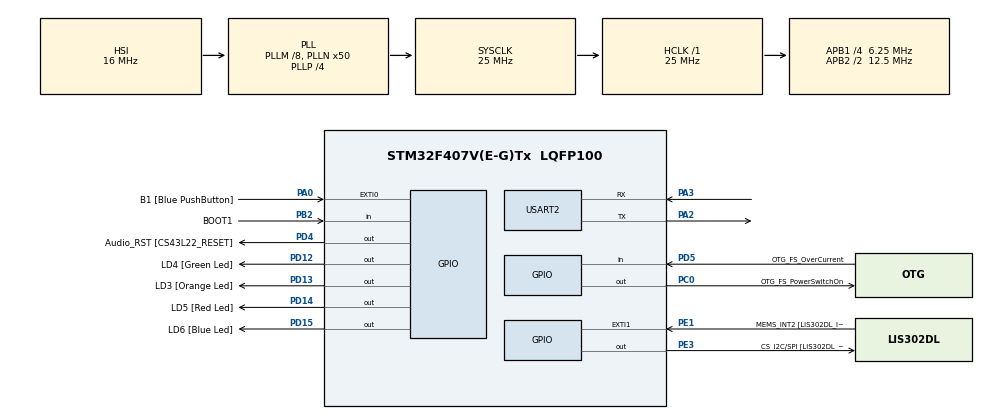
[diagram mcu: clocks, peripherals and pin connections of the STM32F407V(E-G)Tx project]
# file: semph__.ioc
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Mcu.Family=STM32F4
Mcu.Name=STM32F407V(E-G)Tx
Mcu.Package=LQFP100
NVIC.PriorityGroup=NVIC_PRIORITYGROUP_4
NVIC.TIM6_DAC_IRQn=true\:0\:0\:false\:false\:true\:false\:true\:true
NVIC.TimeBase=TIM6_DAC_IRQn
NVIC.TimeBaseIP=TIM6
PA0-WKUP.GPIO_Label=B1 [Blue PushButton]
PA0-WKUP.Signal=GPXTI0
PA10.GPIO_Label=OTG_FS_ID
PA10.GPIO_Mode=GPIO_MODE_AF_PP
PA10.GPIO_PuPd=GPIO_NOPULL
PA10.GPIO_Speed=GPIO_SPEED_FREQ_LOW
PA10.Signal=USB_OTG_FS_ID
PA11.GPIO_Label=OTG_FS_DM
PA11.GPIO_Mode=GPIO_MODE_AF_PP
PA11.GPIO_PuPd=GPIO_NOPULL
PA11.GPIO_Speed=GPIO_SPEED_FREQ_LOW
PA11.Signal=USB_OTG_FS_DM
PA12.GPIO_Label=OTG_FS_DP
PA12.GPIO_Mode=GPIO_MODE_AF_PP
PA12.GPIO_PuPd=GPIO_NOPULL
PA12.GPIO_Speed=GPIO_SPEED_FREQ_LOW
PA12.Signal=USB_OTG_FS_DP
PA13.GPIO_Label=SWDIO
PA13.Signal=SYS_JTMS-SWDIO
PA14.GPIO_Label=SWCLK
PA14.Signal=SYS_JTCK-SWCLK
PA2.Mode=Asynchronous
PA2.Signal=USART2_TX
PA3.Mode=Asynchronous
PA3.Signal=USART2_RX
PA4.GPIO_Label=I2S3_WS [CS43L22_LRCK]
PA4.GPIO_Mode=GPIO_MODE_AF_PP
PA4.GPIO_PuPd=GPIO_NOPULL
PA4.GPIO_Speed=GPIO_SPEED_FREQ_LOW
PA4.Signal=I2S3_WS
PA5.GPIO_Label=SPI1_SCK [LIS302DL_SCL/SPC]
PA5.GPIO_Mode=GPIO_MODE_AF_PP
PA5.GPIO_PuPd=GPIO_NOPULL
PA5.GPIO_Speed=GPIO_SPEED_FREQ_LOW
PA5.Signal=SPI1_SCK
PA6.GPIO_Label=SPI1_MISO [LIS302DL_SDO]
PA6.GPIO_Mode=GPIO_MODE_AF_PP
PA6.GPIO_PuPd=GPIO_NOPULL
PA6.GPIO_Speed=GPIO_SPEED_FREQ_LOW
PA6.Signal=SPI1_MISO
PA7.GPIO_Label=SPI1_MOSI [LIS302DL_SDA/SDI/SDO]
PA7.GPIO_Mode=GPIO_MODE_AF_PP
PA7.GPIO_PuPd=GPIO_NOPULL
PA7.GPIO_Speed=GPIO_SPEED_FREQ_LOW
PA7.Signal=SPI1_MOSI
PA9.GPIO_Label=VBUS_FS
PA9.GPIO_Mode=GPIO_MODE_INPUT
PA9.GPIO_PuPd=GPIO_NOPULL
PA9.Signal=USB_OTG_FS_VBUS
PB10.GPIO_Label=CLK_IN [MP45DT02_CLK]
PB10.GPIO_Mode=GPIO_MODE_AF_PP
PB10.GPIO_PuPd=GPIO_NOPULL
PB10.GPIO_Speed=GPIO_SPEED_FREQ_LOW
PB10.Signal=I2S2_CK
PB2.GPIO_Label=BOOT1
PB2.GPIO_Mode=GPIO_MODE_INPUT
PB2.GPIO_PuPd=GPIO_NOPULL
PB2.Signal=GPIO_Input
PB3.GPIO_Label=SWO
PB3.Signal=SYS_JTDO-SWO
PB6.GPIO_Label=Audio_SCL [CS43L22_SCL]
PB6.GPIO_Mode=GPIO_MODE_AF_OD
PB6.GPIO_PuPd=GPIO_NOPULL
PB6.GPIO_Speed=GPIO_SPEED_FREQ_LOW
PB6.Signal=I2C1_SCL
PB9.GPIO_Label=Audio_SDA [CS43L22_SDA]
PB9.GPIO_Mode=GPIO_MODE_AF_OD
PB9.GPIO_PuPd=GPIO_NOPULL
PB9.GPIO_Speed=GPIO_SPEED_FREQ_LOW
PB9.Signal=I2C1_SDA
PC0.GPIO_Label=OTG_FS_PowerSwitchOn
PC0.GPIO_PuPd=GPIO_NOPULL
PC0.GPIO_Speed=GPIO_SPEED_FREQ_LOW
PC0.PinState=GPIO_PIN_SET
PC0.Signal=GPIO_Output
PC10.GPIO_Label=I2S3_SCK [CS43L22_SCLK]
PC10.GPIO_Mode=GPIO_MODE_AF_PP
PC10.GPIO_PuPd=GPIO_NOPULL
PC10.GPIO_Speed=GPIO_SPEED_FREQ_LOW
PC10.Signal=I2S3_CK
PC12.GPIO_Label=I2S3_SD [CS43L22_SDIN]
PC12.GPIO_Mode=GPIO_MODE_AF_PP
PC12.GPIO_PuPd=GPIO_NOPULL
PC12.GPIO_Speed=GPIO_SPEED_FREQ_LOW
PC12.Signal=I2S3_SD
PC14-OSC32_IN.GPIO_Label=PC14-OSC32_IN
PC14-OSC32_IN.Signal=RCC_OSC32_IN
PC15-OSC32_OUT.GPIO_Label=PC15-OSC32_OUT
PC15-OSC32_OUT.Signal=RCC_OSC32_OUT
PC3.GPIO_Label=PDM_OUT [MP45DT02_DOUT]
PC3.GPIO_Mode=GPIO_MODE_AF_PP
PC3.GPIO_PuPd=GPIO_NOPULL
PC3.GPIO_Speed=GPIO_SPEED_FREQ_LOW
PC3.Signal=I2S2_SD
PC7.GPIO_Label=I2S3_MCK [CS43L22_MCLK]
PC7.GPIO_Mode=GPIO_MODE_AF_PP
PC7.GPIO_PuPd=GPIO_NOPULL
PC7.GPIO_Speed=GPIO_SPEED_FREQ_LOW
PC7.Signal=I2S3_MCK
PD12.GPIO_Label=LD4 [Green Led]
PD12.GPIO_PuPd=GPIO_NOPULL
PD12.GPIO_Speed=GPIO_SPEED_FREQ_LOW
PD12.Signal=GPIO_Output
PD13.GPIO_Label=LD3 [Orange Led]
PD13.GPIO_PuPd=GPIO_NOPULL
PD13.GPIO_Speed=GPIO_SPEED_FREQ_LOW
PD13.Signal=GPIO_Output
PD14.GPIO_Label=LD5 [Red Led]
PD14.GPIO_PuPd=GPIO_NOPULL
PD14.GPIO_Speed=GPIO_SPEED_FREQ_LOW
PD14.Signal=GPIO_Output
PD15.GPIO_Label=LD6 [Blue Led]
PD15.GPIO_PuPd=GPIO_NOPULL
PD15.GPIO_Speed=GPIO_SPEED_FREQ_LOW
PD15.Signal=GPIO_Output
PD4.GPIO_Label=Audio_RST [CS43L22_RESET]
PD4.GPIO_PuPd=GPIO_NOPULL
PD4.GPIO_Speed=GPIO_SPEED_FREQ_LOW
PD4.Signal=GPIO_Output
PD5.GPIO_Label=OTG_FS_OverCurrent
PD5.GPIO_Mode=GPIO_MODE_INPUT
PD5.GPIO_PuPd=GPIO_NOPULL
PD5.Signal=GPIO_Input
PE1.GPIO_Label=MEMS_INT2 [LIS302DL_INT2]
PE1.GPIO_ModeDefaultEXTI=GPIO_MODE_EVT_RISING
PE1.GPIO_PuPd=GPIO_NOPULL
PE1.Signal=GPXTI1
PE3.GPIO_Label=CS_I2C/SPI [LIS302DL_CS_I2C/SPI]
PE3.GPIO_PuPd=GPIO_NOPULL
PE3.GPIO_Speed=GPIO_SPEED_FREQ_LOW
PE3.Signal=GPIO_Output
PH0-OSC_IN.GPIO_Label=PH0-OSC_IN
PH0-OSC_IN.Signal=RCC_OSC_IN
PH1-OSC_OUT.GPIO_Label=PH1-OSC_OUT
PH1-OSC_OUT.Signal=RCC_OSC_OUT
ProjectManager.HeapSize=0x200
ProjectManager.StackSize=0x400
ProjectManager.TargetToolchain=STM32CubeIDE
RCC.48MHZClocksFreq_Value=14285714.285714285
RCC.AHBFreq_Value=25000000
RCC.APB1CLKDivider=RCC_HCLK_DIV4
RCC.APB1Freq_Value=6250000
RCC.APB1TimFreq_Value=12500000
RCC.APB2CLKDivider=RCC_HCLK_DIV2
RCC.APB2Freq_Value=12500000
RCC.APB2TimFreq_Value=25000000
RCC.CortexFreq_Value=25000000
RCC.HCLKFreq_Value=25000000
RCC.HSE_VALUE=8000000
RCC.HSI_VALUE=16000000
RCC.LSE_VALUE=32768
RCC.PLLM=8
RCC.PLLN=50
RCC.PLLP=RCC_PLLP_DIV4
RCC.PLLQ=7
RCC.SYSCLKFreq_VALUE=25000000
RCC.SYSCLKSource=RCC_SYSCLKSOURCE_PLLCLK
RCC.VCOOutputFreq_Value=100000000
USART2.VirtualMode=VM_ASYNC
VP_SYS_VS_tim6.Mode=TIM6
board=STM32F407G-DISC1

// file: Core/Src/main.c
/* USER CODE BEGIN Header */
/**
  ******************************************************************************
  * @file           : main.c
  * @brief          : Main program body
  ******************************************************************************
  * @attention
  *
  * Copyright (c) 2025 STMicroelectronics.
  * All rights reserved.
  *
  * This software is licensed under terms that can be found in the LICENSE file
  * in the root directory of this software component.
  * If no LICENSE file comes with this software, it is provided AS-IS.
  *
  ******************************************************************************
  */
/* USER CODE END Header */
#include "main.h"

/* USER CODE BEGIN Includes */
#include"FreeRTOS.h"
#include<stdio.h>

#include"Queue.h"
#include<stdint.h>
#include"Task.h"
#include"timers.h"
#include"semphr.h"
#include<string.h>
#include<stdlib.h>

/* USER CODE END Includes */

UART_HandleTypeDef huart2;

void SystemClock_Config(void);
static void MX_GPIO_Init(void);
static void MX_USART2_UART_Init(void);

/* USER CODE BEGIN 0 */
TaskHandle_t Manager_Handle;
TaskHandle_t Worker_Handle;
QueueHandle_t q_handle;
SemaphoreHandle_t xwork;
void Manager_Task_Handler(void* param);
void Worker_Task_Handler(void* param);
void Worker_Do_Task(unsigned int *id);
void print_uart(char* );
void write(char* ch);
#define DWT_CTRL    (*(volatile uint32_t*)0xE0001000)
UART_HandleTypeDef huart2;
uint32_t user_data;

/* USER CODE END 0 */

int main(void)
{

  /* USER CODE BEGIN 1 */
	 DWT_CTRL |= ( 1 << 0);

	  SEGGER_SYSVIEW_Conf();

	  SEGGER_SYSVIEW_Start();
	  vSemaphoreCreateBinary(xwork);

	BaseType_t status;
	q_handle=xQueueCreate(1,sizeof(unsigned int));
	if(!(q_handle==NULL)){
		status=xTaskCreate(Manager_Task_Handler, "managertask", 200, NULL, 2, &Manager_Handle);
		configASSERT(status==pdPASS);
		status=xTaskCreate(Worker_Task_Handler, "worker", 200, NULL, 2, &Worker_Handle);
			configASSERT(status==pdPASS);

	}
	HAL_UART_Transmit_IT(&huart2, (void*)&user_data,1);

	vTaskStartScheduler();
  /* USER CODE END 1 */

  /* MCU Configuration--------------------------------------------------------*/

  /* Reset of all peripherals, Initializes the Flash interface and the Systick. */
  HAL_Init();

  /* Configure the system clock */
  SystemClock_Config();

  /* Initialize all configured peripherals */
  MX_GPIO_Init();
  MX_USART2_UART_Init();

  /* Infinite loop */
  while (1)
  {

  }
}

void SystemClock_Config(void)
{
  RCC_OscInitTypeDef RCC_OscInitStruct = {0};
  RCC_ClkInitTypeDef RCC_ClkInitStruct = {0};

  /** Configure the main internal regulator output voltage
  */
  __HAL_RCC_PWR_CLK_ENABLE();
  __HAL_PWR_VOLTAGESCALING_CONFIG(PWR_REGULATOR_VOLTAGE_SCALE1);

  /** Initializes the RCC Oscillators according to the specified parameters
  * in the RCC_OscInitTypeDef structure.
  */
  RCC_OscInitStruct.OscillatorType = RCC_OSCILLATORTYPE_HSI;
  RCC_OscInitStruct.HSIState = RCC_HSI_ON;
  RCC_OscInitStruct.HSICalibrationValue = RCC_HSICALIBRATION_DEFAULT;
  RCC_OscInitStruct.PLL.PLLState = RCC_PLL_ON;
  RCC_OscInitStruct.PLL.PLLSource = RCC_PLLSOURCE_HSI;
  RCC_OscInitStruct.PLL.PLLM = 8;
  RCC_OscInitStruct.PLL.PLLN = 50;
  RCC_OscInitStruct.PLL.PLLP = RCC_PLLP_DIV4;
  RCC_OscInitStruct.PLL.PLLQ = 7;
  if (HAL_RCC_OscConfig(&RCC_OscInitStruct) != HAL_OK)
  {
    Error_Handler();
  }

  /** Initializes the CPU, AHB and APB buses clocks
  */
  RCC_ClkInitStruct.ClockType = RCC_CLOCKTYPE_HCLK|RCC_CLOCKTYPE_SYSCLK
                              |RCC_CLOCKTYPE_PCLK1|RCC_CLOCKTYPE_PCLK2;
  RCC_ClkInitStruct.SYSCLKSource = RCC_SYSCLKSOURCE_PLLCLK;
  RCC_ClkInitStruct.AHBCLKDivider = RCC_SYSCLK_DIV1;
  RCC_ClkInitStruct.APB1CLKDivider = RCC_HCLK_DIV4;
  RCC_ClkInitStruct.APB2CLKDivider = RCC_HCLK_DIV2;

  if (HAL_RCC_ClockConfig(&RCC_ClkInitStruct, FLASH_LATENCY_0) != HAL_OK)
  {
    Error_Handler();
  }
}

static void MX_USART2_UART_Init(void)
{

  huart2.Instance = USART2;
  huart2.Init.BaudRate = 115200;
  huart2.Init.WordLength = UART_WORDLENGTH_8B;
  huart2.Init.StopBits = UART_STOPBITS_1;
  huart2.Init.Parity = UART_PARITY_NONE;
  huart2.Init.Mode = UART_MODE_TX_RX;
  huart2.Init.HwFlowCtl = UART_HWCONTROL_NONE;
  huart2.Init.OverSampling = UART_OVERSAMPLING_16;
  if (HAL_UART_Init(&huart2) != HAL_OK)
  {
    Error_Handler();
  }

}

static void MX_GPIO_Init(void)
{
  GPIO_InitTypeDef GPIO_InitStruct = {0};

  /* GPIO Ports Clock Enable */
  __HAL_RCC_GPIOE_CLK_ENABLE();
  __HAL_RCC_GPIOC_CLK_ENABLE();
  __HAL_RCC_GPIOH_CLK_ENABLE();
  __HAL_RCC_GPIOA_CLK_ENABLE();
  __HAL_RCC_GPIOB_CLK_ENABLE();
  __HAL_RCC_GPIOD_CLK_ENABLE();

  /*Configure GPIO pin Output Level */
  HAL_GPIO_WritePin(CS_I2C_SPI_GPIO_Port, CS_I2C_SPI_Pin, GPIO_PIN_RESET);

  /*Configure GPIO pin Output Level */
  HAL_GPIO_WritePin(OTG_FS_PowerSwitchOn_GPIO_Port, OTG_FS_PowerSwitchOn_Pin, GPIO_PIN_SET);

  /*Configure GPIO pin Output Level */
  HAL_GPIO_WritePin(GPIOD, LD4_Pin|LD3_Pin|LD5_Pin|LD6_Pin
                          |Audio_RST_Pin, GPIO_PIN_RESET);

  /*Configure GPIO pin : CS_I2C_SPI_Pin */
  GPIO_InitStruct.Pin = CS_I2C_SPI_Pin;
  GPIO_InitStruct.Mode = GPIO_MODE_OUTPUT_PP;
  GPIO_InitStruct.Pull = GPIO_NOPULL;
  GPIO_InitStruct.Speed = GPIO_SPEED_FREQ_LOW;
  HAL_GPIO_Init(CS_I2C_SPI_GPIO_Port, &GPIO_InitStruct);

  /*Configure GPIO pin : OTG_FS_PowerSwitchOn_Pin */
  GPIO_InitStruct.Pin = OTG_FS_PowerSwitchOn_Pin;
  GPIO_InitStruct.Mode = GPIO_MODE_OUTPUT_PP;
  GPIO_InitStruct.Pull = GPIO_NOPULL;
  GPIO_InitStruct.Speed = GPIO_SPEED_FREQ_LOW;
  HAL_GPIO_Init(OTG_FS_PowerSwitchOn_GPIO_Port, &GPIO_InitStruct);

  /*Configure GPIO pin : PDM_OUT_Pin */
  GPIO_InitStruct.Pin = PDM_OUT_Pin;
  GPIO_InitStruct.Mode = GPIO_MODE_AF_PP;
  GPIO_InitStruct.Pull = GPIO_NOPULL;
  GPIO_InitStruct.Speed = GPIO_SPEED_FREQ_LOW;
  GPIO_InitStruct.Alternate = GPIO_AF5_SPI2;
  HAL_GPIO_Init(PDM_OUT_GPIO_Port, &GPIO_InitStruct);

  /*Configure GPIO pin : B1_Pin */
  GPIO_InitStruct.Pin = B1_Pin;
  GPIO_InitStruct.Mode = GPIO_MODE_IT_RISING;
  GPIO_InitStruct.Pull = GPIO_NOPULL;
  HAL_GPIO_Init(B1_GPIO_Port, &GPIO_InitStruct);

  /*Configure GPIO pin : I2S3_WS_Pin */
  GPIO_InitStruct.Pin = I2S3_WS_Pin;
  GPIO_InitStruct.Mode = GPIO_MODE_AF_PP;
  GPIO_InitStruct.Pull = GPIO_NOPULL;
  GPIO_InitStruct.Speed = GPIO_SPEED_FREQ_LOW;
  GPIO_InitStruct.Alternate = GPIO_AF6_SPI3;
  HAL_GPIO_Init(I2S3_WS_GPIO_Port, &GPIO_InitStruct);

  /*Configure GPIO pins : SPI1_SCK_Pin SPI1_MISO_Pin SPI1_MOSI_Pin */
  GPIO_InitStruct.Pin = SPI1_SCK_Pin|SPI1_MISO_Pin|SPI1_MOSI_Pin;
  GPIO_InitStruct.Mode = GPIO_MODE_AF_PP;
  GPIO_InitStruct.Pull = GPIO_NOPULL;
  GPIO_InitStruct.Speed = GPIO_SPEED_FREQ_LOW;
  GPIO_InitStruct.Alternate = GPIO_AF5_SPI1;
  HAL_GPIO_Init(GPIOA, &GPIO_InitStruct);

  /*Configure GPIO pin : BOOT1_Pin */
  GPIO_InitStruct.Pin = BOOT1_Pin;
  GPIO_InitStruct.Mode = GPIO_MODE_INPUT;
  GPIO_InitStruct.Pull = GPIO_NOPULL;
  HAL_GPIO_Init(BOOT1_GPIO_Port, &GPIO_InitStruct);

  /*Configure GPIO pin : CLK_IN_Pin */
  GPIO_InitStruct.Pin = CLK_IN_Pin;
  GPIO_InitStruct.Mode = GPIO_MODE_AF_PP;
  GPIO_InitStruct.Pull = GPIO_NOPULL;
  GPIO_InitStruct.Speed = GPIO_SPEED_FREQ_LOW;
  GPIO_InitStruct.Alternate = GPIO_AF5_SPI2;
  HAL_GPIO_Init(CLK_IN_GPIO_Port, &GPIO_InitStruct);

  /*Configure GPIO pins : LD4_Pin LD3_Pin LD5_Pin LD6_Pin
                           Audio_RST_Pin */
  GPIO_InitStruct.Pin = LD4_Pin|LD3_Pin|LD5_Pin|LD6_Pin
                          |Audio_RST_Pin;
  GPIO_InitStruct.Mode = GPIO_MODE_OUTPUT_PP;
  GPIO_InitStruct.Pull = GPIO_NOPULL;
  GPIO_InitStruct.Speed = GPIO_SPEED_FREQ_LOW;
  HAL_GPIO_Init(GPIOD, &GPIO_InitStruct);

  /*Configure GPIO pins : I2S3_MCK_Pin I2S3_SCK_Pin I2S3_SD_Pin */
  GPIO_InitStruct.Pin = I2S3_MCK_Pin|I2S3_SCK_Pin|I2S3_SD_Pin;
  GPIO_InitStruct.Mode = GPIO_MODE_AF_PP;
  GPIO_InitStruct.Pull = GPIO_NOPULL;
  GPIO_InitStruct.Speed = GPIO_SPEED_FREQ_LOW;
  GPIO_InitStruct.Alternate = GPIO_AF6_SPI3;
  HAL_GPIO_Init(GPIOC, &GPIO_InitStruct);

  /*Configure GPIO pin : VBUS_FS_Pin */
  GPIO_InitStruct.Pin = VBUS_FS_Pin;
  GPIO_InitStruct.Mode = GPIO_MODE_INPUT;
  GPIO_InitStruct.Pull = GPIO_NOPULL;
  HAL_GPIO_Init(VBUS_FS_GPIO_Port, &GPIO_InitStruct);

  /*Configure GPIO pins : OTG_FS_ID_Pin OTG_FS_DM_Pin OTG_FS_DP_Pin */
  GPIO_InitStruct.Pin = OTG_FS_ID_Pin|OTG_FS_DM_Pin|OTG_FS_DP_Pin;
  GPIO_InitStruct.Mode = GPIO_MODE_AF_PP;
  GPIO_InitStruct.Pull = GPIO_NOPULL;
  GPIO_InitStruct.Speed = GPIO_SPEED_FREQ_LOW;
  GPIO_InitStruct.Alternate = GPIO_AF10_OTG_FS;
  HAL_GPIO_Init(GPIOA, &GPIO_InitStruct);

  /*Configure GPIO pin : OTG_FS_OverCurrent_Pin */
  GPIO_InitStruct.Pin = OTG_FS_OverCurrent_Pin;
  GPIO_InitStruct.Mode = GPIO_MODE_INPUT;
  GPIO_InitStruct.Pull = GPIO_NOPULL;
  HAL_GPIO_Init(OTG_FS_OverCurrent_GPIO_Port, &GPIO_InitStruct);

  /*Configure GPIO pins : Audio_SCL_Pin Audio_SDA_Pin */
  GPIO_InitStruct.Pin = Audio_SCL_Pin|Audio_SDA_Pin;
  GPIO_InitStruct.Mode = GPIO_MODE_AF_OD;
  GPIO_InitStruct.Pull = GPIO_NOPULL;
  GPIO_InitStruct.Speed = GPIO_SPEED_FREQ_LOW;
  GPIO_InitStruct.Alternate = GPIO_AF4_I2C1;
  HAL_GPIO_Init(GPIOB, &GPIO_InitStruct);

  /*Configure GPIO pin : MEMS_INT2_Pin */
  GPIO_InitStruct.Pin = MEMS_INT2_Pin;
  GPIO_InitStruct.Mode = GPIO_MODE_EVT_RISING;
  GPIO_InitStruct.Pull = GPIO_NOPULL;
  HAL_GPIO_Init(MEMS_INT2_GPIO_Port, &GPIO_InitStruct);

}

/* USER CODE BEGIN 4 */

void Manager_Task_Handler(void* param){
	xSemaphoreGive(xwork);
	unsigned int xWorkTicketId;
	char* msg_failed="fail to send data in queue";
	BaseType_t status;
	while(1){
		xSemaphoreTake(xwork,0);
		xWorkTicketId=rand()&(0x1FF);
		status=xQueueSend(q_handle,&xWorkTicketId,portMAX_DELAY);
		if(!(status==pdPASS)){
			sprintf(msg_failed,"fail to send data in queue");
			print_uart(msg_failed);

		}
		else{
			xSemaphoreGive(xwork);
		taskYIELD();
		}

	}

}
void Worker_Task_Handler(void* param){
	BaseType_t status;
	unsigned int xWorkTicketID;
	char* msg_queue_full="Queue is full ";
	char* msg_Semph_Not_Av=" emaphore is not avialable";
	sprintf(msg_queue_full,"Queue is full");
	sprintf(msg_Semph_Not_Av,"semaphore is not avialable");
	while(1){
		status=xSemaphoreTake(xwork,0);
		if(status==pdPASS){
			status=xQueueReceive(q_handle, &xWorkTicketID, portMAX_DELAY);
			if(status==pdPASS){
				Worker_Do_Task( &xWorkTicketID );

			}
			else{
				print_uart(msg_queue_full);
			}

		}
		else{
			print_uart(msg_Semph_Not_Av);
		}

	}

}
void Worker_Do_Task(unsigned int *id){

    char* ch="ticket id told by manger is        ";
	sprintf(ch,"ticket id told by manger is %d",*id);
	print_uart(ch);

}
void print_uart(char* chem){

	HAL_UART_Transmit(&huart2, (uint8_t*)chem,strlen(chem) , HAL_MAX_DELAY);

}

/* USER CODE END 4 */

void HAL_TIM_PeriodElapsedCallback(TIM_HandleTypeDef *htim)
{
  if (htim->Instance == TIM6)
  {
    HAL_IncTick();
  }
}

void Error_Handler(void)
{
  __disable_irq();
  while (1)
  {
  }
}
